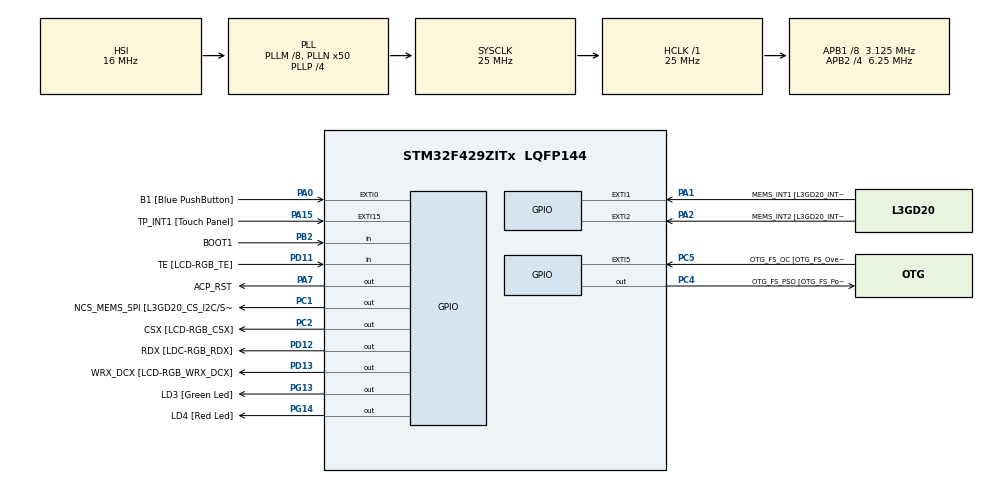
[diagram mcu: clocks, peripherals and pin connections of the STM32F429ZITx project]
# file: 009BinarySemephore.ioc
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Mcu.Family=STM32F4
Mcu.Name=STM32F429ZITx
Mcu.Package=LQFP144
NVIC.PriorityGroup=NVIC_PRIORITYGROUP_4
NVIC.TIM6_DAC_IRQn=true\:15\:0\:false\:false\:true\:false\:true\:true
NVIC.TimeBase=TIM6_DAC_IRQn
NVIC.TimeBaseIP=TIM6
PA0/WKUP.GPIO_Label=B1 [Blue PushButton]
PA0/WKUP.GPIO_ModeDefaultEXTI=GPIO_MODE_EVT_RISING
PA0/WKUP.GPIO_PuPd=GPIO_NOPULL
PA0/WKUP.Signal=GPXTI0
PA1.GPIO_Label=MEMS_INT1 [L3GD20_INT1]
PA1.GPIO_ModeDefaultEXTI=GPIO_MODE_EVT_RISING
PA1.GPIO_PuPd=GPIO_NOPULL
PA1.Signal=GPXTI1
PA10.GPIO_Label=STLINK_TX [STM32F103CBT6_PA2]
PA10.Signal=USART1_RX
PA11.GPIO_Label=R4
PA11.GPIO_Mode=GPIO_MODE_AF_PP
PA11.GPIO_PuPd=GPIO_NOPULL
PA11.GPIO_Speed=GPIO_SPEED_FREQ_LOW
PA11.Signal=LTDC_R4
PA12.GPIO_Label=R5
PA12.GPIO_Mode=GPIO_MODE_AF_PP
PA12.GPIO_PuPd=GPIO_NOPULL
PA12.GPIO_Speed=GPIO_SPEED_FREQ_LOW
PA12.Signal=LTDC_R5
PA13.GPIO_Label=SWDIO
PA13.Signal=SYS_JTMS-SWDIO
PA14.GPIO_Label=SWCLK
PA14.Signal=SYS_JTCK-SWCLK
PA15.GPIO_Label=TP_INT1 [Touch Panel]
PA15.GPIO_ModeDefaultEXTI=GPIO_MODE_EVT_RISING
PA15.GPIO_PuPd=GPIO_NOPULL
PA15.Signal=GPXTI15
PA2.GPIO_Label=MEMS_INT2 [L3GD20_INT2]
PA2.GPIO_ModeDefaultEXTI=GPIO_MODE_EVT_RISING
PA2.GPIO_PuPd=GPIO_NOPULL
PA2.Signal=GPXTI2
PA3.GPIO_Label=B5
PA3.GPIO_Mode=GPIO_MODE_AF_PP
PA3.GPIO_PuPd=GPIO_NOPULL
PA3.GPIO_Speed=GPIO_SPEED_FREQ_LOW
PA3.Signal=LTDC_B5
PA4.GPIO_Label=VSYNC
PA4.GPIO_Mode=GPIO_MODE_AF_PP
PA4.GPIO_PuPd=GPIO_NOPULL
PA4.GPIO_Speed=GPIO_SPEED_FREQ_LOW
PA4.Signal=LTDC_VSYNC
PA6.GPIO_Label=G2
PA6.GPIO_Mode=GPIO_MODE_AF_PP
PA6.GPIO_PuPd=GPIO_NOPULL
PA6.GPIO_Speed=GPIO_SPEED_FREQ_LOW
PA6.Signal=LTDC_G2
PA7.GPIO_Label=ACP_RST
PA7.GPIO_Mode=GPIO_MODE_OUTPUT_PP
PA7.GPIO_PuPd=GPIO_NOPULL
PA7.GPIO_Speed=GPIO_SPEED_FREQ_LOW
PA7.Signal=GPIO_Output
PA8.GPIO_Label=I2C3_SCL [ACP/RF_SCL]
PA8.GPIO_Mode=GPIO_MODE_AF_OD
PA8.GPIO_PuPd=GPIO_NOPULL
PA8.GPIO_Speed=GPIO_SPEED_FREQ_LOW
PA8.Signal=I2C3_SCL
PA9.GPIO_Label=STLINK_RX [STM32F103CBT6_PA3]
PA9.Signal=USART1_TX
PB0.GPIO_Label=R3
PB0.GPIO_Mode=GPIO_MODE_AF_PP
PB0.GPIO_PuPd=GPIO_NOPULL
PB0.GPIO_Speed=GPIO_SPEED_FREQ_LOW
PB0.Signal=LTDC_R3
PB1.GPIO_Label=R6
PB1.GPIO_Mode=GPIO_MODE_AF_PP
PB1.GPIO_PuPd=GPIO_NOPULL
PB1.GPIO_Speed=GPIO_SPEED_FREQ_LOW
PB1.Signal=LTDC_R6
PB10.GPIO_Label=G4
PB10.GPIO_Mode=GPIO_MODE_AF_PP
PB10.GPIO_PuPd=GPIO_NOPULL
PB10.GPIO_Speed=GPIO_SPEED_FREQ_LOW
PB10.Signal=LTDC_G4
PB11.GPIO_Label=G5
PB11.GPIO_Mode=GPIO_MODE_AF_PP
PB11.GPIO_PuPd=GPIO_NOPULL
PB11.GPIO_Speed=GPIO_SPEED_FREQ_LOW
PB11.Signal=LTDC_G5
PB12.GPIO_Label=OTG_HS_ID
PB12.GPIO_Mode=GPIO_MODE_AF_PP
PB12.GPIO_PuPd=GPIO_NOPULL
PB12.GPIO_Speed=GPIO_SPEED_FREQ_LOW
PB12.Signal=USB_OTG_HS_ID
PB13.GPIO_Label=VBUS_HS
PB13.GPIO_Mode=GPIO_MODE_INPUT
PB13.GPIO_PuPd=GPIO_NOPULL
PB13.Signal=USB_OTG_HS_VBUS
PB14.GPIO_Label=OTG_HS_DM
PB14.GPIO_Mode=GPIO_MODE_AF_PP
PB14.GPIO_PuPd=GPIO_NOPULL
PB14.GPIO_Speed=GPIO_SPEED_FREQ_LOW
PB14.Signal=USB_OTG_HS_DM
PB15.GPIO_Label=OTG_HS_DP
PB15.GPIO_Mode=GPIO_MODE_AF_PP
PB15.GPIO_PuPd=GPIO_NOPULL
PB15.GPIO_Speed=GPIO_SPEED_FREQ_LOW
PB15.Signal=USB_OTG_HS_DP
PB2/BOOT1.GPIO_Label=BOOT1
PB2/BOOT1.GPIO_Mode=GPIO_MODE_INPUT
PB2/BOOT1.GPIO_PuPd=GPIO_NOPULL
PB2/BOOT1.Signal=GPIO_Input
PB5.GPIO_Label=SDCKE1
PB5.GPIO_Mode=GPIO_MODE_AF_PP
PB5.GPIO_PuPd=GPIO_NOPULL
PB5.GPIO_Speed=GPIO_SPEED_FREQ_VERY_HIGH
PB5.Signal=FMC_SDCKE1
PB6.GPIO_Label=SDNE1 [SDRAM_CS]
PB6.GPIO_Mode=GPIO_MODE_AF_PP
PB6.GPIO_PuPd=GPIO_NOPULL
PB6.GPIO_Speed=GPIO_SPEED_FREQ_VERY_HIGH
PB6.Signal=FMC_SDNE1
PB8.GPIO_Label=B6
PB8.GPIO_Mode=GPIO_MODE_AF_PP
PB8.GPIO_PuPd=GPIO_NOPULL
PB8.GPIO_Speed=GPIO_SPEED_FREQ_LOW
PB8.Signal=LTDC_B6
PB9.GPIO_Label=B7
PB9.GPIO_Mode=GPIO_MODE_AF_PP
PB9.GPIO_PuPd=GPIO_NOPULL
PB9.GPIO_Speed=GPIO_SPEED_FREQ_LOW
PB9.Signal=LTDC_B7
PC0.GPIO_Label=SDNWE
PC0.GPIO_Mode=GPIO_MODE_AF_PP
PC0.GPIO_PuPd=GPIO_NOPULL
PC0.GPIO_Speed=GPIO_SPEED_FREQ_VERY_HIGH
PC0.Signal=FMC_SDNWE
PC1.GPIO_Label=NCS_MEMS_SPI [L3GD20_CS_I2C/SPI]
PC1.GPIO_Mode=GPIO_MODE_OUTPUT_PP
PC1.GPIO_PuPd=GPIO_NOPULL
PC1.GPIO_Speed=GPIO_SPEED_FREQ_LOW
PC1.Signal=GPIO_Output
PC10.GPIO_Label=R2
PC10.GPIO_Mode=GPIO_MODE_AF_PP
PC10.GPIO_PuPd=GPIO_NOPULL
PC10.GPIO_Speed=GPIO_SPEED_FREQ_LOW
PC10.Signal=LTDC_R2
PC14/OSC32_IN.GPIO_Label=PC14-OSC32_IN
PC14/OSC32_IN.Signal=RCC_OSC32_IN
PC15/OSC32_OUT.GPIO_Label=PC15-OSC32_OUT
PC15/OSC32_OUT.Signal=RCC_OSC32_OUT
PC2.GPIO_Label=CSX [LCD-RGB_CSX]
PC2.GPIO_Mode=GPIO_MODE_OUTPUT_PP
PC2.GPIO_PuPd=GPIO_NOPULL
PC2.GPIO_Speed=GPIO_SPEED_FREQ_LOW
PC2.Signal=GPIO_Output
PC4.GPIO_Label=OTG_FS_PSO [OTG_FS_PowerSwitchOn]
PC4.GPIO_Mode=GPIO_MODE_OUTPUT_PP
PC4.GPIO_PuPd=GPIO_NOPULL
PC4.GPIO_Speed=GPIO_SPEED_FREQ_LOW
PC4.Signal=GPIO_Output
PC5.GPIO_Label=OTG_FS_OC [OTG_FS_OverCurrent]
PC5.GPIO_ModeDefaultEXTI=GPIO_MODE_EVT_RISING
PC5.Signal=GPXTI5
PC6.GPIO_Label=HSYNC
PC6.GPIO_Mode=GPIO_MODE_AF_PP
PC6.GPIO_PuPd=GPIO_NOPULL
PC6.GPIO_Speed=GPIO_SPEED_FREQ_LOW
PC6.Signal=LTDC_HSYNC
PC7.GPIO_Label=G6
PC7.GPIO_Mode=GPIO_MODE_AF_PP
PC7.GPIO_PuPd=GPIO_NOPULL
PC7.GPIO_Speed=GPIO_SPEED_FREQ_LOW
PC7.Signal=LTDC_G6
PC9.GPIO_Label=I2C3_SDA [ACP/RF_SDA]
PC9.GPIO_Mode=GPIO_MODE_AF_OD
PC9.GPIO_PuPd=GPIO_NOPULL
PC9.GPIO_Speed=GPIO_SPEED_FREQ_LOW
PC9.Signal=I2C3_SDA
PD0.GPIO_Label=D2
PD0.GPIO_Mode=GPIO_MODE_AF_PP
PD0.GPIO_PuPd=GPIO_NOPULL
PD0.GPIO_Speed=GPIO_SPEED_FREQ_VERY_HIGH
PD0.Signal=FMC_D2_DA2
PD1.GPIO_Label=D3
PD1.GPIO_Mode=GPIO_MODE_AF_PP
PD1.GPIO_PuPd=GPIO_NOPULL
PD1.GPIO_Speed=GPIO_SPEED_FREQ_VERY_HIGH
PD1.Signal=FMC_D3_DA3
PD10.GPIO_Label=D15
PD10.GPIO_Mode=GPIO_MODE_AF_PP
PD10.GPIO_PuPd=GPIO_NOPULL
PD10.GPIO_Speed=GPIO_SPEED_FREQ_VERY_HIGH
PD10.Signal=FMC_D15_DA15
PD11.GPIO_Label=TE [LCD-RGB_TE]
PD11.GPIO_Mode=GPIO_MODE_INPUT
PD11.GPIO_PuPd=GPIO_NOPULL
PD11.Signal=GPIO_Input
PD12.GPIO_Label=RDX [LDC-RGB_RDX]
PD12.GPIO_Mode=GPIO_MODE_OUTPUT_PP
PD12.GPIO_PuPd=GPIO_NOPULL
PD12.GPIO_Speed=GPIO_SPEED_FREQ_LOW
PD12.Signal=GPIO_Output
PD13.GPIO_Label=WRX_DCX [LCD-RGB_WRX_DCX]
PD13.GPIO_Mode=GPIO_MODE_OUTPUT_PP
PD13.GPIO_PuPd=GPIO_NOPULL
PD13.GPIO_Speed=GPIO_SPEED_FREQ_LOW
PD13.Signal=GPIO_Output
PD14.GPIO_Label=D0
PD14.GPIO_Mode=GPIO_MODE_AF_PP
PD14.GPIO_PuPd=GPIO_NOPULL
PD14.GPIO_Speed=GPIO_SPEED_FREQ_VERY_HIGH
PD14.Signal=FMC_D0_DA0
PD15.GPIO_Label=D1
PD15.GPIO_Mode=GPIO_MODE_AF_PP
PD15.GPIO_PuPd=GPIO_NOPULL
PD15.GPIO_Speed=GPIO_SPEED_FREQ_VERY_HIGH
PD15.Signal=FMC_D1_DA1
PD3.GPIO_Label=G7
PD3.GPIO_Mode=GPIO_MODE_AF_PP
PD3.GPIO_PuPd=GPIO_NOPULL
PD3.GPIO_Speed=GPIO_SPEED_FREQ_LOW
PD3.Signal=LTDC_G7
PD6.GPIO_Label=B2
PD6.GPIO_Mode=GPIO_MODE_AF_PP
PD6.GPIO_PuPd=GPIO_NOPULL
PD6.GPIO_Speed=GPIO_SPEED_FREQ_LOW
PD6.Signal=LTDC_B2
PD8.GPIO_Label=D13
PD8.GPIO_Mode=GPIO_MODE_AF_PP
PD8.GPIO_PuPd=GPIO_NOPULL
PD8.GPIO_Speed=GPIO_SPEED_FREQ_VERY_HIGH
PD8.Signal=FMC_D13_DA13
PD9.GPIO_Label=D14
PD9.GPIO_Mode=GPIO_MODE_AF_PP
PD9.GPIO_PuPd=GPIO_NOPULL
PD9.GPIO_Speed=GPIO_SPEED_FREQ_VERY_HIGH
PD9.Signal=FMC_D14_DA14
PE0.GPIO_Label=NBL0 [SDRAM_LDQM]
PE0.GPIO_Mode=GPIO_MODE_AF_PP
PE0.GPIO_PuPd=GPIO_NOPULL
PE0.GPIO_Speed=GPIO_SPEED_FREQ_VERY_HIGH
PE0.Signal=FMC_NBL0
PE1.GPIO_Label=NBL1 [SDRAM_UDQM]
PE1.GPIO_Mode=GPIO_MODE_AF_PP
PE1.GPIO_PuPd=GPIO_NOPULL
PE1.GPIO_Speed=GPIO_SPEED_FREQ_VERY_HIGH
PE1.Signal=FMC_NBL1
PE10.GPIO_Label=D7
PE10.GPIO_Mode=GPIO_MODE_AF_PP
PE10.GPIO_PuPd=GPIO_NOPULL
PE10.GPIO_Speed=GPIO_SPEED_FREQ_VERY_HIGH
PE10.Signal=FMC_D7_DA7
PE11.GPIO_Label=D8
PE11.GPIO_Mode=GPIO_MODE_AF_PP
PE11.GPIO_PuPd=GPIO_NOPULL
PE11.GPIO_Speed=GPIO_SPEED_FREQ_VERY_HIGH
PE11.Signal=FMC_D8_DA8
PE12.GPIO_Label=D9
PE12.GPIO_Mode=GPIO_MODE_AF_PP
PE12.GPIO_PuPd=GPIO_NOPULL
PE12.GPIO_Speed=GPIO_SPEED_FREQ_VERY_HIGH
PE12.Signal=FMC_D9_DA9
PE13.GPIO_Label=D10
PE13.GPIO_Mode=GPIO_MODE_AF_PP
PE13.GPIO_PuPd=GPIO_NOPULL
PE13.GPIO_Speed=GPIO_SPEED_FREQ_VERY_HIGH
PE13.Signal=FMC_D10_DA10
PE14.GPIO_Label=D11
PE14.GPIO_Mode=GPIO_MODE_AF_PP
PE14.GPIO_PuPd=GPIO_NOPULL
PE14.GPIO_Speed=GPIO_SPEED_FREQ_VERY_HIGH
PE14.Signal=FMC_D11_DA11
PE15.GPIO_Label=D12
PE15.GPIO_Mode=GPIO_MODE_AF_PP
PE15.GPIO_PuPd=GPIO_NOPULL
PE15.GPIO_Speed=GPIO_SPEED_FREQ_VERY_HIGH
PE15.Signal=FMC_D12_DA12
PE7.GPIO_Label=D4
PE7.GPIO_Mode=GPIO_MODE_AF_PP
PE7.GPIO_PuPd=GPIO_NOPULL
PE7.GPIO_Speed=GPIO_SPEED_FREQ_VERY_HIGH
PE7.Signal=FMC_D4_DA4
PE8.GPIO_Label=D5
PE8.GPIO_Mode=GPIO_MODE_AF_PP
PE8.GPIO_PuPd=GPIO_NOPULL
PE8.GPIO_Speed=GPIO_SPEED_FREQ_VERY_HIGH
PE8.Signal=FMC_D5_DA5
PE9.GPIO_Label=D6
PE9.GPIO_Mode=GPIO_MODE_AF_PP
PE9.GPIO_PuPd=GPIO_NOPULL
PE9.GPIO_Speed=GPIO_SPEED_FREQ_VERY_HIGH
PE9.Signal=FMC_D6_DA6
PF0.GPIO_Label=A0
PF0.GPIO_Mode=GPIO_MODE_AF_PP
PF0.GPIO_PuPd=GPIO_NOPULL
PF0.GPIO_Speed=GPIO_SPEED_FREQ_VERY_HIGH
PF0.Signal=FMC_A0
PF1.GPIO_Label=A1
PF1.GPIO_Mode=GPIO_MODE_AF_PP
PF1.GPIO_PuPd=GPIO_NOPULL
PF1.GPIO_Speed=GPIO_SPEED_FREQ_VERY_HIGH
PF1.Signal=FMC_A1
PF10.GPIO_Label=ENABLE [LCD-RGB_ENABLE]
PF10.GPIO_Mode=GPIO_MODE_AF_PP
PF10.GPIO_PuPd=GPIO_NOPULL
PF10.GPIO_Speed=GPIO_SPEED_FREQ_LOW
PF10.Signal=LTDC_DE
PF11.GPIO_Label=SDNRAS
PF11.GPIO_Mode=GPIO_MODE_AF_PP
PF11.GPIO_PuPd=GPIO_NOPULL
PF11.GPIO_Speed=GPIO_SPEED_FREQ_VERY_HIGH
PF11.Signal=FMC_SDNRAS
PF12.GPIO_Label=A6
PF12.GPIO_Mode=GPIO_MODE_AF_PP
PF12.GPIO_PuPd=GPIO_NOPULL
PF12.GPIO_Speed=GPIO_SPEED_FREQ_VERY_HIGH
PF12.Signal=FMC_A6
PF13.GPIO_Label=A7
PF13.GPIO_Mode=GPIO_MODE_AF_PP
PF13.GPIO_PuPd=GPIO_NOPULL
PF13.GPIO_Speed=GPIO_SPEED_FREQ_VERY_HIGH
PF13.Signal=FMC_A7
PF14.GPIO_Label=A8
PF14.GPIO_Mode=GPIO_MODE_AF_PP
PF14.GPIO_PuPd=GPIO_NOPULL
PF14.GPIO_Speed=GPIO_SPEED_FREQ_VERY_HIGH
PF14.Signal=FMC_A8
PF15.GPIO_Label=A9
PF15.GPIO_Mode=GPIO_MODE_AF_PP
PF15.GPIO_PuPd=GPIO_NOPULL
PF15.GPIO_Speed=GPIO_SPEED_FREQ_VERY_HIGH
PF15.Signal=FMC_A9
PF2.GPIO_Label=A2
PF2.GPIO_Mode=GPIO_MODE_AF_PP
PF2.GPIO_PuPd=GPIO_NOPULL
PF2.GPIO_Speed=GPIO_SPEED_FREQ_VERY_HIGH
PF2.Signal=FMC_A2
PF3.GPIO_Label=A3
PF3.GPIO_Mode=GPIO_MODE_AF_PP
PF3.GPIO_PuPd=GPIO_NOPULL
PF3.GPIO_Speed=GPIO_SPEED_FREQ_VERY_HIGH
PF3.Signal=FMC_A3
PF4.GPIO_Label=A4
PF4.GPIO_Mode=GPIO_MODE_AF_PP
PF4.GPIO_PuPd=GPIO_NOPULL
PF4.GPIO_Speed=GPIO_SPEED_FREQ_VERY_HIGH
PF4.Signal=FMC_A4
PF5.GPIO_Label=A5
PF5.GPIO_Mode=GPIO_MODE_AF_PP
PF5.GPIO_PuPd=GPIO_NOPULL
PF5.GPIO_Speed=GPIO_SPEED_FREQ_VERY_HIGH
PF5.Signal=FMC_A5
PF7.GPIO_Label=SPI5_SCK [L3GD20_SCL/SPC]
PF7.GPIO_Mode=GPIO_MODE_AF_PP
PF7.GPIO_PuPd=GPIO_NOPULL
PF7.GPIO_Speed=GPIO_SPEED_FREQ_LOW
PF7.Signal=SPI5_SCK
PF8.GPIO_Label=SPI5_MISO [L3GD20_SDO]
PF8.GPIO_Mode=GPIO_MODE_AF_PP
PF8.GPIO_PuPd=GPIO_NOPULL
PF8.GPIO_Speed=GPIO_SPEED_FREQ_LOW
PF8.Signal=SPI5_MISO
PF9.GPIO_Label=SPI5_MOSI [L3GD20_SDA/SDI/SDO]
PF9.GPIO_Mode=GPIO_MODE_AF_PP
PF9.GPIO_PuPd=GPIO_NOPULL
PF9.GPIO_Speed=GPIO_SPEED_FREQ_LOW
PF9.Signal=SPI5_MOSI
PG0.GPIO_Label=A10
PG0.GPIO_Mode=GPIO_MODE_AF_PP
PG0.GPIO_PuPd=GPIO_NOPULL
PG0.GPIO_Speed=GPIO_SPEED_FREQ_VERY_HIGH
PG0.Signal=FMC_A10
PG1.GPIO_Label=A11
PG1.GPIO_Mode=GPIO_MODE_AF_PP
PG1.GPIO_PuPd=GPIO_NOPULL
PG1.GPIO_Speed=GPIO_SPEED_FREQ_VERY_HIGH
PG1.Signal=FMC_A11
PG10.GPIO_Label=G3
PG10.GPIO_Mode=GPIO_MODE_AF_PP
PG10.GPIO_PuPd=GPIO_NOPULL
PG10.GPIO_Speed=GPIO_SPEED_FREQ_LOW
PG10.Signal=LTDC_G3
PG11.GPIO_Label=B3
PG11.GPIO_Mode=GPIO_MODE_AF_PP
PG11.GPIO_PuPd=GPIO_NOPULL
PG11.GPIO_Speed=GPIO_SPEED_FREQ_LOW
PG11.Signal=LTDC_B3
PG12.GPIO_Label=B4
PG12.GPIO_Mode=GPIO_MODE_AF_PP
PG12.GPIO_PuPd=GPIO_NOPULL
PG12.GPIO_Speed=GPIO_SPEED_FREQ_LOW
PG12.Signal=LTDC_B4
PG13.GPIO_Label=LD3 [Green Led]
PG13.GPIO_Mode=GPIO_MODE_OUTPUT_PP
PG13.GPIO_PuPd=GPIO_NOPULL
PG13.GPIO_Speed=GPIO_SPEED_FREQ_LOW
PG13.Signal=GPIO_Output
PG14.GPIO_Label=LD4 [Red Led]
PG14.GPIO_Mode=GPIO_MODE_OUTPUT_PP
PG14.GPIO_PuPd=GPIO_NOPULL
PG14.GPIO_Speed=GPIO_SPEED_FREQ_LOW
PG14.Signal=GPIO_Output
PG15.GPIO_Label=SDNCAS
PG15.GPIO_Mode=GPIO_MODE_AF_PP
PG15.GPIO_PuPd=GPIO_NOPULL
PG15.GPIO_Speed=GPIO_SPEED_FREQ_VERY_HIGH
PG15.Signal=FMC_SDNCAS
PG4.GPIO_Label=BA0
PG4.GPIO_Mode=GPIO_MODE_AF_PP
PG4.GPIO_PuPd=GPIO_NOPULL
PG4.GPIO_Speed=GPIO_SPEED_FREQ_VERY_HIGH
PG4.Signal=FMC_A14_BA0
PG5.GPIO_Label=BA1
PG5.GPIO_Mode=GPIO_MODE_AF_PP
PG5.GPIO_PuPd=GPIO_NOPULL
PG5.GPIO_Speed=GPIO_SPEED_FREQ_VERY_HIGH
PG5.Signal=FMC_A15_BA1
PG6.GPIO_Label=R7
PG6.GPIO_Mode=GPIO_MODE_AF_PP
PG6.GPIO_PuPd=GPIO_NOPULL
PG6.GPIO_Speed=GPIO_SPEED_FREQ_LOW
PG6.Signal=LTDC_R7
PG7.GPIO_Label=DOTCLK [LCT-RGB_DOTCLK]
PG7.GPIO_Mode=GPIO_MODE_AF_PP
PG7.GPIO_PuPd=GPIO_NOPULL
PG7.GPIO_Speed=GPIO_SPEED_FREQ_LOW
PG7.Signal=LTDC_CLK
PG8.GPIO_Label=SDCLK
PG8.GPIO_Mode=GPIO_MODE_AF_PP
PG8.GPIO_PuPd=GPIO_NOPULL
PG8.GPIO_Speed=GPIO_SPEED_FREQ_VERY_HIGH
PG8.Signal=FMC_SDCLK
PH0/OSC_IN.GPIO_Label=PH0-OSC_IN
PH0/OSC_IN.Signal=RCC_OSC_IN
PH1/OSC_OUT.GPIO_Label=PH1-OSC_OUT
PH1/OSC_OUT.Signal=RCC_OSC_OUT
ProjectManager.HeapSize=0x200
ProjectManager.StackSize=0x400
ProjectManager.TargetToolchain=STM32CubeIDE
RCC.48MHZClocksFreq_Value=14285714.285714285
RCC.AHBFreq_Value=25000000
RCC.APB1CLKDivider=RCC_HCLK_DIV8
RCC.APB1Freq_Value=3125000
RCC.APB1TimFreq_Value=6250000
RCC.APB2CLKDivider=RCC_HCLK_DIV4
RCC.APB2Freq_Value=6250000
RCC.APB2TimFreq_Value=12500000
RCC.CortexFreq_Value=25000000
RCC.HCLKFreq_Value=25000000
RCC.HSE_VALUE=8000000
RCC.HSI_VALUE=16000000
RCC.LSE_VALUE=32768
RCC.PLLM=8
RCC.PLLN=50
RCC.PLLP=RCC_PLLP_DIV4
RCC.PLLQ=7
RCC.SYSCLKFreq_VALUE=25000000
RCC.SYSCLKSource=RCC_SYSCLKSOURCE_PLLCLK
RCC.VCOOutputFreq_Value=100000000
SH.FMC_A0.0=FMC_A0
SH.FMC_A1.0=FMC_A1
SH.FMC_A10.0=FMC_A10
SH.FMC_A11.0=FMC_A11
SH.FMC_A14_BA0.0=FMC_BA0
SH.FMC_A15_BA1.0=FMC_BA1
SH.FMC_A2.0=FMC_A2
SH.FMC_A3.0=FMC_A3
SH.FMC_A4.0=FMC_A4
SH.FMC_A5.0=FMC_A5
SH.FMC_A6.0=FMC_A6
SH.FMC_A7.0=FMC_A7
SH.FMC_A8.0=FMC_A8
SH.FMC_A9.0=FMC_A9
SH.FMC_D0_DA0.0=FMC_D0
SH.FMC_D10_DA10.0=FMC_D10
SH.FMC_D11_DA11.0=FMC_D11
SH.FMC_D12_DA12.0=FMC_D12
SH.FMC_D13_DA13.0=FMC_D13
SH.FMC_D14_DA14.0=FMC_D14
SH.FMC_D15_DA15.0=FMC_D15
SH.FMC_D1_DA1.0=FMC_D1
SH.FMC_D2_DA2.0=FMC_D2
SH.FMC_D3_DA3.0=FMC_D3
SH.FMC_D4_DA4.0=FMC_D4
SH.FMC_D5_DA5.0=FMC_D5
SH.FMC_D6_DA6.0=FMC_D6
SH.FMC_D7_DA7.0=FMC_D7
SH.FMC_D8_DA8.0=FMC_D8
SH.FMC_D9_DA9.0=FMC_D9
SH.FMC_NBL0.0=FMC_NBL0
SH.FMC_NBL1.0=FMC_NBL1
SH.FMC_SDCLK.0=FMC_SDCLK
SH.FMC_SDNCAS.0=FMC_SDNCAS
SH.FMC_SDNRAS.0=FMC_SDNRAS
SH.FMC_SDNWE.0=FMC_SDNWE
VP_SYS_VS_tim6.Mode=TIM6
board=STM32F429I-DISC1

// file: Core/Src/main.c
/* USER CODE BEGIN Header */
/**
  ******************************************************************************
  * @file           : main.c
  * @brief          : Main program body
  ******************************************************************************
  * @attention
  *
  * Copyright (c) 2024 STMicroelectronics.
  * All rights reserved.
  *
  * This software is licensed under terms that can be found in the LICENSE file
  * in the root directory of this software component.
  * If no LICENSE file comes with this software, it is provided AS-IS.
  *
  ******************************************************************************
  */
/* USER CODE END Header */
#include "main.h"
#include <stdio.h>
#include "FreeRTOS.h"
#include "task.h"
#include "queue.h"
#include <stdlib.h>
#include "semphr.h"

void SystemClock_Config(void);
static void MX_GPIO_Init(void);
/* USER CODE BEGIN PFP */

static void data_producer(void *pvParam);
static void data_consumer(void *pvParam);

/* USER CODE END PFP */

/* USER CODE BEGIN 0 */
QueueHandle_t xDataQueue;
SemaphoreHandle_t xSemaBinary;
/* USER CODE END 0 */

int main(void)
{
  /* USER CODE BEGIN 1 */
	BaseType_t xReturned;
	TaskHandle_t xDataProducerTask = NULL, xDataConsumerTask = NULL;
  /* USER CODE END 1 */

  /* MCU Configuration--------------------------------------------------------*/

  /* Reset of all peripherals, Initializes the Flash interface and the Systick. */
  HAL_Init();

  /* Configure the system clock */
  SystemClock_Config();

  /* Initialize all configured peripherals */
  MX_GPIO_Init();
  /* USER CODE BEGIN 2 */

  xDataQueue = xQueueCreate(1, sizeof(uint8_t));
  configASSERT(NULL != xDataQueue);

  xSemaBinary = xSemaphoreCreateBinary();
  configASSERT(NULL != xSemaBinary);

  xReturned = xTaskCreate(data_producer, "data_producer", 200, NULL, 3, &xDataProducerTask);
  configASSERT(pdPASS == xReturned);

  xReturned = xTaskCreate(data_consumer, "data_consumer", 200, NULL, 1, &xDataConsumerTask);
  configASSERT(pdPASS == xReturned);

  vTaskStartScheduler();

  /* USER CODE END 2 */

  /* Infinite loop */
  while (1)
  {

  }
}

void SystemClock_Config(void)
{
  RCC_OscInitTypeDef RCC_OscInitStruct = {0};
  RCC_ClkInitTypeDef RCC_ClkInitStruct = {0};

  /** Configure the main internal regulator output voltage
  */
  __HAL_RCC_PWR_CLK_ENABLE();
  __HAL_PWR_VOLTAGESCALING_CONFIG(PWR_REGULATOR_VOLTAGE_SCALE3);

  /** Initializes the RCC Oscillators according to the specified parameters
  * in the RCC_OscInitTypeDef structure.
  */
  RCC_OscInitStruct.OscillatorType = RCC_OSCILLATORTYPE_HSI;
  RCC_OscInitStruct.HSIState = RCC_HSI_ON;
  RCC_OscInitStruct.HSICalibrationValue = RCC_HSICALIBRATION_DEFAULT;
  RCC_OscInitStruct.PLL.PLLState = RCC_PLL_ON;
  RCC_OscInitStruct.PLL.PLLSource = RCC_PLLSOURCE_HSI;
  RCC_OscInitStruct.PLL.PLLM = 8;
  RCC_OscInitStruct.PLL.PLLN = 50;
  RCC_OscInitStruct.PLL.PLLP = RCC_PLLP_DIV4;
  RCC_OscInitStruct.PLL.PLLQ = 7;
  if (HAL_RCC_OscConfig(&RCC_OscInitStruct) != HAL_OK)
  {
    Error_Handler();
  }

  /** Initializes the CPU, AHB and APB buses clocks
  */
  RCC_ClkInitStruct.ClockType = RCC_CLOCKTYPE_HCLK|RCC_CLOCKTYPE_SYSCLK
                              |RCC_CLOCKTYPE_PCLK1|RCC_CLOCKTYPE_PCLK2;
  RCC_ClkInitStruct.SYSCLKSource = RCC_SYSCLKSOURCE_PLLCLK;
  RCC_ClkInitStruct.AHBCLKDivider = RCC_SYSCLK_DIV1;
  RCC_ClkInitStruct.APB1CLKDivider = RCC_HCLK_DIV8;
  RCC_ClkInitStruct.APB2CLKDivider = RCC_HCLK_DIV4;

  if (HAL_RCC_ClockConfig(&RCC_ClkInitStruct, FLASH_LATENCY_0) != HAL_OK)
  {
    Error_Handler();
  }
}

static void MX_GPIO_Init(void)
{
  GPIO_InitTypeDef GPIO_InitStruct = {0};

  /* GPIO Ports Clock Enable */
  __HAL_RCC_GPIOC_CLK_ENABLE();
  __HAL_RCC_GPIOF_CLK_ENABLE();
  __HAL_RCC_GPIOH_CLK_ENABLE();
  __HAL_RCC_GPIOA_CLK_ENABLE();
  __HAL_RCC_GPIOB_CLK_ENABLE();
  __HAL_RCC_GPIOG_CLK_ENABLE();
  __HAL_RCC_GPIOE_CLK_ENABLE();
  __HAL_RCC_GPIOD_CLK_ENABLE();

  /*Configure GPIO pin Output Level */
  HAL_GPIO_WritePin(GPIOC, NCS_MEMS_SPI_Pin|CSX_Pin|OTG_FS_PSO_Pin, GPIO_PIN_RESET);

  /*Configure GPIO pin Output Level */
  HAL_GPIO_WritePin(ACP_RST_GPIO_Port, ACP_RST_Pin, GPIO_PIN_RESET);

  /*Configure GPIO pin Output Level */
  HAL_GPIO_WritePin(GPIOD, RDX_Pin|WRX_DCX_Pin, GPIO_PIN_RESET);

  /*Configure GPIO pin Output Level */
  HAL_GPIO_WritePin(GPIOG, LD3_Pin|LD4_Pin, GPIO_PIN_RESET);

  /*Configure GPIO pins : A0_Pin A1_Pin A2_Pin A3_Pin
                           A4_Pin A5_Pin SDNRAS_Pin A6_Pin
                           A7_Pin A8_Pin A9_Pin */
  GPIO_InitStruct.Pin = A0_Pin|A1_Pin|A2_Pin|A3_Pin
                          |A4_Pin|A5_Pin|SDNRAS_Pin|A6_Pin
                          |A7_Pin|A8_Pin|A9_Pin;
  GPIO_InitStruct.Mode = GPIO_MODE_AF_PP;
  GPIO_InitStruct.Pull = GPIO_NOPULL;
  GPIO_InitStruct.Speed = GPIO_SPEED_FREQ_VERY_HIGH;
  GPIO_InitStruct.Alternate = GPIO_AF12_FMC;
  HAL_GPIO_Init(GPIOF, &GPIO_InitStruct);

  /*Configure GPIO pins : SPI5_SCK_Pin SPI5_MISO_Pin SPI5_MOSI_Pin */
  GPIO_InitStruct.Pin = SPI5_SCK_Pin|SPI5_MISO_Pin|SPI5_MOSI_Pin;
  GPIO_InitStruct.Mode = GPIO_MODE_AF_PP;
  GPIO_InitStruct.Pull = GPIO_NOPULL;
  GPIO_InitStruct.Speed = GPIO_SPEED_FREQ_LOW;
  GPIO_InitStruct.Alternate = GPIO_AF5_SPI5;
  HAL_GPIO_Init(GPIOF, &GPIO_InitStruct);

  /*Configure GPIO pin : ENABLE_Pin */
  GPIO_InitStruct.Pin = ENABLE_Pin;
  GPIO_InitStruct.Mode = GPIO_MODE_AF_PP;
  GPIO_InitStruct.Pull = GPIO_NOPULL;
  GPIO_InitStruct.Speed = GPIO_SPEED_FREQ_LOW;
  GPIO_InitStruct.Alternate = GPIO_AF14_LTDC;
  HAL_GPIO_Init(ENABLE_GPIO_Port, &GPIO_InitStruct);

  /*Configure GPIO pin : SDNWE_Pin */
  GPIO_InitStruct.Pin = SDNWE_Pin;
  GPIO_InitStruct.Mode = GPIO_MODE_AF_PP;
  GPIO_InitStruct.Pull = GPIO_NOPULL;
  GPIO_InitStruct.Speed = GPIO_SPEED_FREQ_VERY_HIGH;
  GPIO_InitStruct.Alternate = GPIO_AF12_FMC;
  HAL_GPIO_Init(SDNWE_GPIO_Port, &GPIO_InitStruct);

  /*Configure GPIO pins : NCS_MEMS_SPI_Pin CSX_Pin OTG_FS_PSO_Pin */
  GPIO_InitStruct.Pin = NCS_MEMS_SPI_Pin|CSX_Pin|OTG_FS_PSO_Pin;
  GPIO_InitStruct.Mode = GPIO_MODE_OUTPUT_PP;
  GPIO_InitStruct.Pull = GPIO_NOPULL;
  GPIO_InitStruct.Speed = GPIO_SPEED_FREQ_LOW;
  HAL_GPIO_Init(GPIOC, &GPIO_InitStruct);

  /*Configure GPIO pins : B1_Pin MEMS_INT1_Pin MEMS_INT2_Pin TP_INT1_Pin */
  GPIO_InitStruct.Pin = B1_Pin|MEMS_INT1_Pin|MEMS_INT2_Pin|TP_INT1_Pin;
  GPIO_InitStruct.Mode = GPIO_MODE_EVT_RISING;
  GPIO_InitStruct.Pull = GPIO_NOPULL;
  HAL_GPIO_Init(GPIOA, &GPIO_InitStruct);

  /*Configure GPIO pins : B5_Pin VSYNC_Pin G2_Pin R4_Pin
                           R5_Pin */
  GPIO_InitStruct.Pin = B5_Pin|VSYNC_Pin|G2_Pin|R4_Pin
                          |R5_Pin;
  GPIO_InitStruct.Mode = GPIO_MODE_AF_PP;
  GPIO_InitStruct.Pull = GPIO_NOPULL;
  GPIO_InitStruct.Speed = GPIO_SPEED_FREQ_LOW;
  GPIO_InitStruct.Alternate = GPIO_AF14_LTDC;
  HAL_GPIO_Init(GPIOA, &GPIO_InitStruct);

  /*Configure GPIO pin : ACP_RST_Pin */
  GPIO_InitStruct.Pin = ACP_RST_Pin;
  GPIO_InitStruct.Mode = GPIO_MODE_OUTPUT_PP;
  GPIO_InitStruct.Pull = GPIO_NOPULL;
  GPIO_InitStruct.Speed = GPIO_SPEED_FREQ_LOW;
  HAL_GPIO_Init(ACP_RST_GPIO_Port, &GPIO_InitStruct);

  /*Configure GPIO pin : OTG_FS_OC_Pin */
  GPIO_InitStruct.Pin = OTG_FS_OC_Pin;
  GPIO_InitStruct.Mode = GPIO_MODE_EVT_RISING;
  GPIO_InitStruct.Pull = GPIO_NOPULL;
  HAL_GPIO_Init(OTG_FS_OC_GPIO_Port, &GPIO_InitStruct);

  /*Configure GPIO pins : R3_Pin R6_Pin */
  GPIO_InitStruct.Pin = R3_Pin|R6_Pin;
  GPIO_InitStruct.Mode = GPIO_MODE_AF_PP;
  GPIO_InitStruct.Pull = GPIO_NOPULL;
  GPIO_InitStruct.Speed = GPIO_SPEED_FREQ_LOW;
  GPIO_InitStruct.Alternate = GPIO_AF9_LTDC;
  HAL_GPIO_Init(GPIOB, &GPIO_InitStruct);

  /*Configure GPIO pin : BOOT1_Pin */
  GPIO_InitStruct.Pin = BOOT1_Pin;
  GPIO_InitStruct.Mode = GPIO_MODE_INPUT;
  GPIO_InitStruct.Pull = GPIO_NOPULL;
  HAL_GPIO_Init(BOOT1_GPIO_Port, &GPIO_InitStruct);

  /*Configure GPIO pins : A10_Pin A11_Pin BA0_Pin BA1_Pin
                           SDCLK_Pin SDNCAS_Pin */
  GPIO_InitStruct.Pin = A10_Pin|A11_Pin|BA0_Pin|BA1_Pin
                          |SDCLK_Pin|SDNCAS_Pin;
  GPIO_InitStruct.Mode = GPIO_MODE_AF_PP;
  GPIO_InitStruct.Pull = GPIO_NOPULL;
  GPIO_InitStruct.Speed = GPIO_SPEED_FREQ_VERY_HIGH;
  GPIO_InitStruct.Alternate = GPIO_AF12_FMC;
  HAL_GPIO_Init(GPIOG, &GPIO_InitStruct);

  /*Configure GPIO pins : D4_Pin D5_Pin D6_Pin D7_Pin
                           D8_Pin D9_Pin D10_Pin D11_Pin
                           D12_Pin NBL0_Pin NBL1_Pin */
  GPIO_InitStruct.Pin = D4_Pin|D5_Pin|D6_Pin|D7_Pin
                          |D8_Pin|D9_Pin|D10_Pin|D11_Pin
                          |D12_Pin|NBL0_Pin|NBL1_Pin;
  GPIO_InitStruct.Mode = GPIO_MODE_AF_PP;
  GPIO_InitStruct.Pull = GPIO_NOPULL;
  GPIO_InitStruct.Speed = GPIO_SPEED_FREQ_VERY_HIGH;
  GPIO_InitStruct.Alternate = GPIO_AF12_FMC;
  HAL_GPIO_Init(GPIOE, &GPIO_InitStruct);

  /*Configure GPIO pins : G4_Pin G5_Pin B6_Pin B7_Pin */
  GPIO_InitStruct.Pin = G4_Pin|G5_Pin|B6_Pin|B7_Pin;
  GPIO_InitStruct.Mode = GPIO_MODE_AF_PP;
  GPIO_InitStruct.Pull = GPIO_NOPULL;
  GPIO_InitStruct.Speed = GPIO_SPEED_FREQ_LOW;
  GPIO_InitStruct.Alternate = GPIO_AF14_LTDC;
  HAL_GPIO_Init(GPIOB, &GPIO_InitStruct);

  /*Configure GPIO pins : OTG_HS_ID_Pin OTG_HS_DM_Pin OTG_HS_DP_Pin */
  GPIO_InitStruct.Pin = OTG_HS_ID_Pin|OTG_HS_DM_Pin|OTG_HS_DP_Pin;
  GPIO_InitStruct.Mode = GPIO_MODE_AF_PP;
  GPIO_InitStruct.Pull = GPIO_NOPULL;
  GPIO_InitStruct.Speed = GPIO_SPEED_FREQ_LOW;
  GPIO_InitStruct.Alternate = GPIO_AF12_OTG_HS_FS;
  HAL_GPIO_Init(GPIOB, &GPIO_InitStruct);

  /*Configure GPIO pin : VBUS_HS_Pin */
  GPIO_InitStruct.Pin = VBUS_HS_Pin;
  GPIO_InitStruct.Mode = GPIO_MODE_INPUT;
  GPIO_InitStruct.Pull = GPIO_NOPULL;
  HAL_GPIO_Init(VBUS_HS_GPIO_Port, &GPIO_InitStruct);

  /*Configure GPIO pins : D13_Pin D14_Pin D15_Pin D0_Pin
                           D1_Pin D2_Pin D3_Pin */
  GPIO_InitStruct.Pin = D13_Pin|D14_Pin|D15_Pin|D0_Pin
                          |D1_Pin|D2_Pin|D3_Pin;
  GPIO_InitStruct.Mode = GPIO_MODE_AF_PP;
  GPIO_InitStruct.Pull = GPIO_NOPULL;
  GPIO_InitStruct.Speed = GPIO_SPEED_FREQ_VERY_HIGH;
  GPIO_InitStruct.Alternate = GPIO_AF12_FMC;
  HAL_GPIO_Init(GPIOD, &GPIO_InitStruct);

  /*Configure GPIO pin : TE_Pin */
  GPIO_InitStruct.Pin = TE_Pin;
  GPIO_InitStruct.Mode = GPIO_MODE_INPUT;
  GPIO_InitStruct.Pull = GPIO_NOPULL;
  HAL_GPIO_Init(TE_GPIO_Port, &GPIO_InitStruct);

  /*Configure GPIO pins : RDX_Pin WRX_DCX_Pin */
  GPIO_InitStruct.Pin = RDX_Pin|WRX_DCX_Pin;
  GPIO_InitStruct.Mode = GPIO_MODE_OUTPUT_PP;
  GPIO_InitStruct.Pull = GPIO_NOPULL;
  GPIO_InitStruct.Speed = GPIO_SPEED_FREQ_LOW;
  HAL_GPIO_Init(GPIOD, &GPIO_InitStruct);

  /*Configure GPIO pins : R7_Pin DOTCLK_Pin B3_Pin */
  GPIO_InitStruct.Pin = R7_Pin|DOTCLK_Pin|B3_Pin;
  GPIO_InitStruct.Mode = GPIO_MODE_AF_PP;
  GPIO_InitStruct.Pull = GPIO_NOPULL;
  GPIO_InitStruct.Speed = GPIO_SPEED_FREQ_LOW;
  GPIO_InitStruct.Alternate = GPIO_AF14_LTDC;
  HAL_GPIO_Init(GPIOG, &GPIO_InitStruct);

  /*Configure GPIO pins : HSYNC_Pin G6_Pin R2_Pin */
  GPIO_InitStruct.Pin = HSYNC_Pin|G6_Pin|R2_Pin;
  GPIO_InitStruct.Mode = GPIO_MODE_AF_PP;
  GPIO_InitStruct.Pull = GPIO_NOPULL;
  GPIO_InitStruct.Speed = GPIO_SPEED_FREQ_LOW;
  GPIO_InitStruct.Alternate = GPIO_AF14_LTDC;
  HAL_GPIO_Init(GPIOC, &GPIO_InitStruct);

  /*Configure GPIO pin : I2C3_SDA_Pin */
  GPIO_InitStruct.Pin = I2C3_SDA_Pin;
  GPIO_InitStruct.Mode = GPIO_MODE_AF_OD;
  GPIO_InitStruct.Pull = GPIO_NOPULL;
  GPIO_InitStruct.Speed = GPIO_SPEED_FREQ_LOW;
  GPIO_InitStruct.Alternate = GPIO_AF4_I2C3;
  HAL_GPIO_Init(I2C3_SDA_GPIO_Port, &GPIO_InitStruct);

  /*Configure GPIO pin : I2C3_SCL_Pin */
  GPIO_InitStruct.Pin = I2C3_SCL_Pin;
  GPIO_InitStruct.Mode = GPIO_MODE_AF_OD;
  GPIO_InitStruct.Pull = GPIO_NOPULL;
  GPIO_InitStruct.Speed = GPIO_SPEED_FREQ_LOW;
  GPIO_InitStruct.Alternate = GPIO_AF4_I2C3;
  HAL_GPIO_Init(I2C3_SCL_GPIO_Port, &GPIO_InitStruct);

  /*Configure GPIO pins : STLINK_RX_Pin STLINK_TX_Pin */
  GPIO_InitStruct.Pin = STLINK_RX_Pin|STLINK_TX_Pin;
  GPIO_InitStruct.Mode = GPIO_MODE_AF_PP;
  GPIO_InitStruct.Pull = GPIO_NOPULL;
  GPIO_InitStruct.Speed = GPIO_SPEED_FREQ_VERY_HIGH;
  GPIO_InitStruct.Alternate = GPIO_AF7_USART1;
  HAL_GPIO_Init(GPIOA, &GPIO_InitStruct);

  /*Configure GPIO pins : G7_Pin B2_Pin */
  GPIO_InitStruct.Pin = G7_Pin|B2_Pin;
  GPIO_InitStruct.Mode = GPIO_MODE_AF_PP;
  GPIO_InitStruct.Pull = GPIO_NOPULL;
  GPIO_InitStruct.Speed = GPIO_SPEED_FREQ_LOW;
  GPIO_InitStruct.Alternate = GPIO_AF14_LTDC;
  HAL_GPIO_Init(GPIOD, &GPIO_InitStruct);

  /*Configure GPIO pins : G3_Pin B4_Pin */
  GPIO_InitStruct.Pin = G3_Pin|B4_Pin;
  GPIO_InitStruct.Mode = GPIO_MODE_AF_PP;
  GPIO_InitStruct.Pull = GPIO_NOPULL;
  GPIO_InitStruct.Speed = GPIO_SPEED_FREQ_LOW;
  GPIO_InitStruct.Alternate = GPIO_AF9_LTDC;
  HAL_GPIO_Init(GPIOG, &GPIO_InitStruct);

  /*Configure GPIO pins : LD3_Pin LD4_Pin */
  GPIO_InitStruct.Pin = LD3_Pin|LD4_Pin;
  GPIO_InitStruct.Mode = GPIO_MODE_OUTPUT_PP;
  GPIO_InitStruct.Pull = GPIO_NOPULL;
  GPIO_InitStruct.Speed = GPIO_SPEED_FREQ_LOW;
  HAL_GPIO_Init(GPIOG, &GPIO_InitStruct);

  /*Configure GPIO pins : SDCKE1_Pin SDNE1_Pin */
  GPIO_InitStruct.Pin = SDCKE1_Pin|SDNE1_Pin;
  GPIO_InitStruct.Mode = GPIO_MODE_AF_PP;
  GPIO_InitStruct.Pull = GPIO_NOPULL;
  GPIO_InitStruct.Speed = GPIO_SPEED_FREQ_VERY_HIGH;
  GPIO_InitStruct.Alternate = GPIO_AF12_FMC;
  HAL_GPIO_Init(GPIOB, &GPIO_InitStruct);

}

/* USER CODE BEGIN 4 */

static void data_producer(void *pvParam)
{
	uint8_t ucRandVal = 0;
	BaseType_t ret = 0;

	while(1) {
		ucRandVal = rand() & 0xFF;
		ret = xQueueSendToBack(xDataQueue, &ucRandVal, portMAX_DELAY);
		if(pdTRUE  == ret)
		{
			printf("%s: Added to queue\n", __FUNCTION__);
			xSemaphoreGive(xSemaBinary);
			taskYIELD();
		}
	}
}
static void data_consumer(void *pvParam)
{
	BaseType_t ret = 0;
	uint8_t data = 0;
	while(1) {

		/* wait for semaphore signal to read from queue */
		xSemaphoreTake(xSemaBinary, portMAX_DELAY);

		ret = xQueueReceive(xDataQueue, &data, 0);
		if(pdTRUE == ret) {
			/* do work */
			printf("%s: Delaying task by %d\n", __FUNCTION__, data);
			vTaskDelay(pdMS_TO_TICKS(data));
		} else {
			/* No data on the queue. Timed out */
			printf("%s: No data on the queue. timed out\n", __FUNCTION__);
		}
	}
}

/* USER CODE END 4 */

void HAL_TIM_PeriodElapsedCallback(TIM_HandleTypeDef *htim)
{
  if (htim->Instance == TIM6) {
    HAL_IncTick();
  }
}

void Error_Handler(void)
{
  __disable_irq();
  while (1)
  {
  }
}
